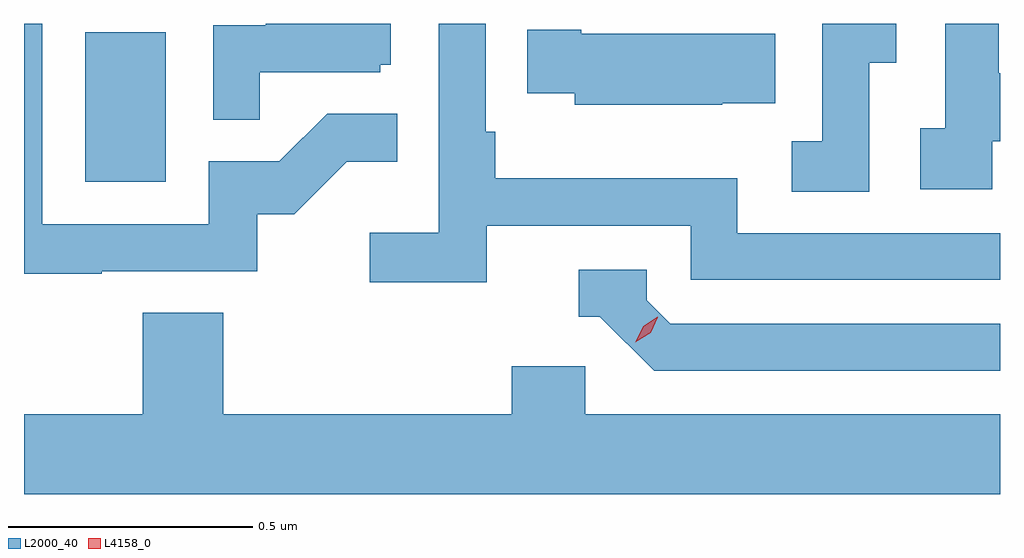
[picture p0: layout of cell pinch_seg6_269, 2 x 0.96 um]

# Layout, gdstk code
import gdstk
lib = gdstk.Library(unit=1e-6, precision=1e-09)
def R(c, l, rs):  # rectangles x0, y0, x1, y1
    for r in rs: c.add(gdstk.rectangle(r[:2], r[2:], *l))
def P(c, l, *ps):  # polygons
    for p in ps: c.add(gdstk.Polygon(p, *l))
L2000_40 = (2000, 40)
L4158_0 = (4158, 0)

pinch_seg6_269 = lib.new_cell('pinch_seg6_269')
R(pinch_seg6_269, L2000_40, [(1081.736,917.34,1081.9,917.647)])
P(pinch_seg6_269, L2000_40, [(1082.558,917.25),(1082.976,917.25),(1082.976,917.139),(1083.61,917.139),(1083.61,917.235),(1083.072,917.235),(1083.072,917.347),(1082.576,917.347),(1082.576,917.443),(1082.556,917.443),(1082.556,917.664),(1082.46,917.664),(1082.46,917.236),(1082.319,917.236),(1082.319,917.134),(1082.558,917.134)],
  [(1083.342,917.584),(1083.397,917.584),(1083.397,917.664),(1083.246,917.664),(1083.246,917.423),(1083.183,917.423),(1083.183,917.32),(1083.342,917.32)],
  [(1083.594,917.423),(1083.61,917.423),(1083.61,917.563),(1083.607,917.563),(1083.607,917.664),(1083.498,917.664),(1083.498,917.45),(1083.447,917.45),(1083.447,917.325),(1083.594,917.325)],
  [(1082.093,917.565),(1082.34,917.565),(1082.34,917.58),(1082.362,917.58),(1082.362,917.664),(1082.105,917.664),(1082.105,917.661),(1081.998,917.661),(1081.998,917.467),(1082.093,917.467)],
  [(1081.769,917.157),(1082.088,917.157),(1082.088,917.274),(1082.164,917.274),(1082.271,917.381),(1082.375,917.381),(1082.375,917.48),(1082.231,917.48),(1082.133,917.382),(1081.989,917.382),(1081.989,917.253),(1081.647,917.253),(1081.647,917.664),(1081.61,917.664),(1081.61,917.152),(1081.769,917.152)],
  [(1083.041,917.501),(1083.149,917.501),(1083.149,917.644),(1082.752,917.644),(1082.752,917.652),(1082.641,917.652),(1082.641,917.522),(1082.739,917.522),(1082.739,917.498),(1083.041,917.498)],
  [(1083.61,917.049),(1082.934,917.049),(1082.886,917.097),(1082.886,917.16),(1082.747,917.16),(1082.747,917.064),(1082.79,917.064),(1082.901,916.953),(1083.61,916.953)],
  [(1083.61,916.864),(1082.76,916.864),(1082.76,916.962),(1082.609,916.962),(1082.609,916.864),(1082.018,916.864),(1082.018,917.072),(1081.853,917.072),(1081.853,916.864),(1081.61,916.864),(1081.61,916.7),(1083.61,916.7)])
P(pinch_seg6_269, L4158_0, [(1082.863,917.011),(1082.863,917.011),(1082.879,917.044),(1082.909,917.064),(1082.909,917.064),(1082.909,917.063),(1082.894,917.031),(1082.863,917.011)])

lib.write_gds('pinch_seg6_269.gds')
